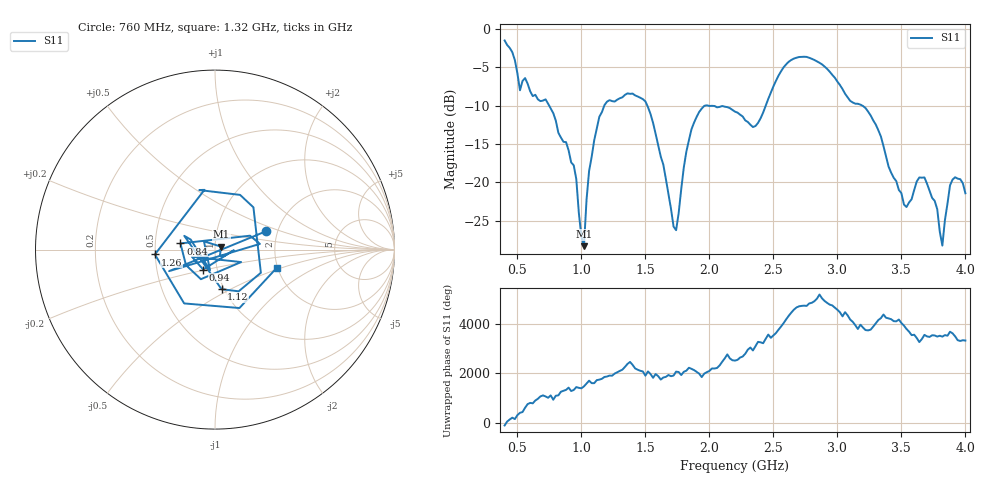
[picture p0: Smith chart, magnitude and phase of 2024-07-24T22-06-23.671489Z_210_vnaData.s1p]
!Created with skrf (http://scikit-rf.org).
# Hz S RI R 50.0
!freq ReS11 ImS11
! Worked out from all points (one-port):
!   181 points, 400 MHz to 4 GHz, reference 50 ohm
!   lowest |S11| = -28.3 dB at 1.02 GHz (marker M1), VSWR 1.08, Z = 53.6 + j1.76 ohm
!   |S11| at or under -10 dB: 1.515 GHz to 1.97 GHz (455.6 MHz wide, 26.1 % of centre); 1.988 GHz to 2.44 GHz (452.3 MHz wide, 20.4 % of centre); 3.194 GHz to end of sweep (the widest 3 of 4)
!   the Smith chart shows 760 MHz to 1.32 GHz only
!   S11 on the Smith chart (normalised r, x): 760 MHz: 1.74, +0.39; 840 MHz: 0.68, +0.05; 940 MHz: 0.86, -0.19; 1.12 GHz: 0.97, -0.45; 1.26 GHz: 0.50, -0.03; 1.32 GHz: 1.97, -0.47
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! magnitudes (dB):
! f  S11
! 400 MHz  -1.5
! 520 MHz  -8.0
! 760 MHz  -10.4
! 840 MHz  -14.2
! 860 MHz  -14.7
! 940 MHz  -17.8
! 1.02 GHz  -28.3
! 1.06 GHz  -18.5
! 1.12 GHz  -13.0
! 1.26 GHz  -9.5
! 1.3 GHz  -9.0
! 1.32 GHz  -8.9
! 1.5 GHz  -9.5
! 1.72 GHz  -25.8
! 1.76 GHz  -24.0
! 1.82 GHz  -16.0
! 1.92 GHz  -10.8
! 2.2 GHz  -10.8
! 2.36 GHz  -12.7
! 2.66 GHz  -3.9
! 3.1 GHz  -9.4
! 3.26 GHz  -11.3
! 3.56 GHz  -22.6
! 3.68 GHz  -19.4
! 3.78 GHz  -23.5
! 3.82 GHz  -28.3
! 3.88 GHz  -20.4
! 4 GHz  -21.4
